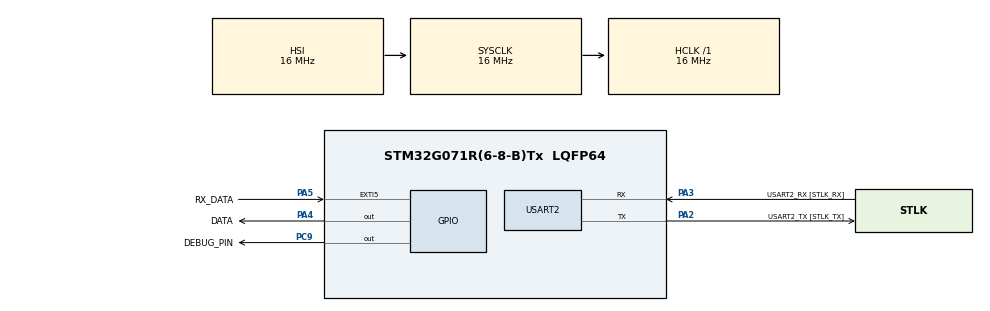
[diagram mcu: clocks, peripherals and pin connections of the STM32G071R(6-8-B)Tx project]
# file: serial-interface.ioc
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Mcu.Family=STM32G0
Mcu.Name=STM32G071R(6-8-B)Tx
Mcu.Package=LQFP64
NVIC.EXTI4_15_IRQn=true\:0\:0\:false\:false\:true\:true\:true\:true
NVIC.TIM1_BRK_UP_TRG_COM_IRQn=true\:0\:0\:false\:false\:true\:true\:true\:true
NVIC.TIM1_CC_IRQn=true\:0\:0\:false\:false\:true\:true\:true\:true
NVIC.TIM2_IRQn=true\:0\:0\:false\:false\:true\:true\:true\:true
PA13.GPIO_Label=TMS
PA13.Mode=Serial_Wire
PA13.Signal=SYS_SWDIO
PA14-BOOT0.GPIO_Label=TCK
PA14-BOOT0.Mode=Serial_Wire
PA14-BOOT0.Signal=SYS_SWCLK
PA2.GPIO_Label=USART2_TX [STLK_TX]
PA2.GPIO_PuPd=GPIO_PULLUP
PA2.Mode=Asynchronous
PA2.Signal=USART2_TX
PA3.GPIO_Label=USART2_RX [STLK_RX]
PA3.GPIO_PuPd=GPIO_PULLUP
PA3.Mode=Asynchronous
PA3.Signal=USART2_RX
PA4.GPIO_Label=DATA
PA4.Signal=GPIO_Output
PA5.GPIO_Label=RX_DATA
PA5.Signal=GPXTI5
PC13.Mode=SYS_WakeUp1
PC13.Signal=SYS_WKUP2
PC14-OSC32_IN\ (PC14).Mode=LSE-External-Oscillator
PC14-OSC32_IN\ (PC14).Signal=RCC_OSC32_IN
PC15-OSC32_OUT\ (PC15).Mode=LSE-External-Oscillator
PC15-OSC32_OUT\ (PC15).Signal=RCC_OSC32_OUT
PC9.GPIO_Label=DEBUG_PIN
PC9.Signal=GPIO_Output
PF0-OSC_IN\ (PF0).GPIO_Label=MCO
PF0-OSC_IN\ (PF0).Mode=HSE-External-Clock-Source
PF0-OSC_IN\ (PF0).Signal=RCC_OSC_IN
ProjectManager.HeapSize=0x200
ProjectManager.StackSize=0x400
ProjectManager.TargetToolchain=STM32CubeIDE
RCC.AHBFreq_Value=16000000
RCC.CortexFreq_Value=16000000
RCC.EXTERNAL_CLOCK_VALUE=12288000
RCC.HCLKFreq_Value=16000000
RCC.HSE_VALUE=8000000
RCC.HSI_VALUE=16000000
RCC.SYSCLKFreq_VALUE=16000000
RCC.VCOOutputFreq_Value=128000000
TIM1.Period=1000
TIM1.Prescaler=16-1
TIM2.Prescaler=16-1
USART2.VirtualMode-Asynchronous=VM_ASYNC
VP_TIM1_VS_ClockSourceINT.Mode=Internal
VP_TIM2_VS_ClockSourceINT.Mode=Internal
board=NUCLEO-G071RB

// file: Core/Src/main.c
/* USER CODE BEGIN Header */
/**
  ******************************************************************************
  * @file           : main.c
  * @brief          : Main program body
  ******************************************************************************
  * @attention
  *
  * Copyright (c) 2024 STMicroelectronics.
  * All rights reserved.
  *
  * This software is licensed under terms that can be found in the LICENSE file
  * in the root directory of this software component.
  * If no LICENSE file comes with this software, it is provided AS-IS.
  *
  ******************************************************************************
  */
/* USER CODE END Header */
#include "main.h"

/* USER CODE BEGIN Includes */
#include "tx.h"
#include "rx.h"
/* USER CODE END Includes */

/* USER CODE BEGIN PTD */
typedef void (*executable)();
typedef struct
{
	uint32_t   delayThreshold;
	uint32_t   delay;
	executable run;
} scheduledContext;

typedef struct
{
	uint8_t trigger;
	executable run;
} triggerable;
/* USER CODE END PTD */

TIM_HandleTypeDef htim1;
TIM_HandleTypeDef htim2;

UART_HandleTypeDef huart2;

/* USER CODE BEGIN PV */
static const volatile uint8_t flag_C = 0;
static uint8_t flag_B = 0;
static const volatile uint8_t txData[] = "abcdefghij";
static const volatile uint8_t rxData[10];
/* USER CODE END PV */

void SystemClock_Config(void);
static void MX_GPIO_Init(void);
static void MX_USART2_UART_Init(void);
static void MX_TIM1_Init(void);
static void MX_TIM2_Init(void);

/* USER CODE BEGIN 0 */
static void setBitAction(uint8_t bit)
{
	HAL_GPIO_WritePin
	(
			DATA_GPIO_Port,
			DATA_Pin,
			(bit != 0)
	);
}

static uint8_t readDataSignal()
{
	return !HAL_GPIO_ReadPin (
			RX_DATA_GPIO_Port,
			RX_DATA_Pin
	);
}

/* USER CODE END 0 */

int main(void)
{

  /* MCU Configuration--------------------------------------------------------*/

  /* Reset of all peripherals, Initializes the Flash interface and the Systick. */
  HAL_Init();

  /* Configure the system clock */
  SystemClock_Config();

  /* Initialize all configured peripherals */
  MX_GPIO_Init();
  MX_USART2_UART_Init();
  MX_TIM1_Init();
  MX_TIM2_Init();
  /* USER CODE BEGIN 2 */
  HAL_TIM_Base_Start_IT(&htim1);
  HAL_TIM_PWM_Start_IT(&htim1, TIM_CHANNEL_1);

  RX_initStruct init = {
		  .htim = &htim2,
		  .pin = RX_DATA_Pin,
		  .port = RX_DATA_GPIO_Port,
		  .source = readDataSignal
  };

  TX_init(&htim1, setBitAction);
  RX_init(init);
  /* USER CODE END 2 */

  /* Infinite loop */
  /* USER CODE BEGIN WHILE */
  while (1)
  {
	  if(flag_B)
	  {
		  RX_start(rxData, 2);
		  flag_B = !flag_B;
		  TX_send((uint8_t*)&txData, 2);
	  }
    /* USER CODE END WHILE */

  }
}

void SystemClock_Config(void)
{
  RCC_OscInitTypeDef RCC_OscInitStruct = {0};
  RCC_ClkInitTypeDef RCC_ClkInitStruct = {0};

  /** Configure the main internal regulator output voltage
  */
  HAL_PWREx_ControlVoltageScaling(PWR_REGULATOR_VOLTAGE_SCALE1);

  /** Initializes the RCC Oscillators according to the specified parameters
  * in the RCC_OscInitTypeDef structure.
  */
  RCC_OscInitStruct.OscillatorType = RCC_OSCILLATORTYPE_HSI;
  RCC_OscInitStruct.HSIState = RCC_HSI_ON;
  RCC_OscInitStruct.HSIDiv = RCC_HSI_DIV1;
  RCC_OscInitStruct.HSICalibrationValue = RCC_HSICALIBRATION_DEFAULT;
  RCC_OscInitStruct.PLL.PLLState = RCC_PLL_NONE;
  if (HAL_RCC_OscConfig(&RCC_OscInitStruct) != HAL_OK)
  {
    Error_Handler();
  }

  /** Initializes the CPU, AHB and APB buses clocks
  */
  RCC_ClkInitStruct.ClockType = RCC_CLOCKTYPE_HCLK|RCC_CLOCKTYPE_SYSCLK
                              |RCC_CLOCKTYPE_PCLK1;
  RCC_ClkInitStruct.SYSCLKSource = RCC_SYSCLKSOURCE_HSI;
  RCC_ClkInitStruct.AHBCLKDivider = RCC_SYSCLK_DIV1;
  RCC_ClkInitStruct.APB1CLKDivider = RCC_HCLK_DIV1;

  if (HAL_RCC_ClockConfig(&RCC_ClkInitStruct, FLASH_LATENCY_0) != HAL_OK)
  {
    Error_Handler();
  }
}

static void MX_TIM1_Init(void)
{

  TIM_ClockConfigTypeDef sClockSourceConfig = {0};
  TIM_MasterConfigTypeDef sMasterConfig = {0};

  htim1.Instance = TIM1;
  htim1.Init.Prescaler = 16-1;
  htim1.Init.CounterMode = TIM_COUNTERMODE_UP;
  htim1.Init.Period = 1000;
  htim1.Init.ClockDivision = TIM_CLOCKDIVISION_DIV1;
  htim1.Init.RepetitionCounter = 0;
  htim1.Init.AutoReloadPreload = TIM_AUTORELOAD_PRELOAD_DISABLE;
  if (HAL_TIM_Base_Init(&htim1) != HAL_OK)
  {
    Error_Handler();
  }
  sClockSourceConfig.ClockSource = TIM_CLOCKSOURCE_INTERNAL;
  if (HAL_TIM_ConfigClockSource(&htim1, &sClockSourceConfig) != HAL_OK)
  {
    Error_Handler();
  }
  sMasterConfig.MasterOutputTrigger = TIM_TRGO_RESET;
  sMasterConfig.MasterOutputTrigger2 = TIM_TRGO2_RESET;
  sMasterConfig.MasterSlaveMode = TIM_MASTERSLAVEMODE_DISABLE;
  if (HAL_TIMEx_MasterConfigSynchronization(&htim1, &sMasterConfig) != HAL_OK)
  {
    Error_Handler();
  }

}

static void MX_TIM2_Init(void)
{

  TIM_ClockConfigTypeDef sClockSourceConfig = {0};
  TIM_MasterConfigTypeDef sMasterConfig = {0};

  htim2.Instance = TIM2;
  htim2.Init.Prescaler = 16-1;
  htim2.Init.CounterMode = TIM_COUNTERMODE_UP;
  htim2.Init.Period = 4294967295;
  htim2.Init.ClockDivision = TIM_CLOCKDIVISION_DIV1;
  htim2.Init.AutoReloadPreload = TIM_AUTORELOAD_PRELOAD_DISABLE;
  if (HAL_TIM_Base_Init(&htim2) != HAL_OK)
  {
    Error_Handler();
  }
  sClockSourceConfig.ClockSource = TIM_CLOCKSOURCE_INTERNAL;
  if (HAL_TIM_ConfigClockSource(&htim2, &sClockSourceConfig) != HAL_OK)
  {
    Error_Handler();
  }
  sMasterConfig.MasterOutputTrigger = TIM_TRGO_RESET;
  sMasterConfig.MasterSlaveMode = TIM_MASTERSLAVEMODE_DISABLE;
  if (HAL_TIMEx_MasterConfigSynchronization(&htim2, &sMasterConfig) != HAL_OK)
  {
    Error_Handler();
  }

}

static void MX_USART2_UART_Init(void)
{

  huart2.Instance = USART2;
  huart2.Init.BaudRate = 115200;
  huart2.Init.WordLength = UART_WORDLENGTH_8B;
  huart2.Init.StopBits = UART_STOPBITS_1;
  huart2.Init.Parity = UART_PARITY_NONE;
  huart2.Init.Mode = UART_MODE_TX_RX;
  huart2.Init.HwFlowCtl = UART_HWCONTROL_NONE;
  huart2.Init.OverSampling = UART_OVERSAMPLING_16;
  huart2.Init.OneBitSampling = UART_ONE_BIT_SAMPLE_DISABLE;
  huart2.Init.ClockPrescaler = UART_PRESCALER_DIV1;
  huart2.AdvancedInit.AdvFeatureInit = UART_ADVFEATURE_NO_INIT;
  if (HAL_UART_Init(&huart2) != HAL_OK)
  {
    Error_Handler();
  }
  if (HAL_UARTEx_SetTxFifoThreshold(&huart2, UART_TXFIFO_THRESHOLD_1_8) != HAL_OK)
  {
    Error_Handler();
  }
  if (HAL_UARTEx_SetRxFifoThreshold(&huart2, UART_RXFIFO_THRESHOLD_1_8) != HAL_OK)
  {
    Error_Handler();
  }
  if (HAL_UARTEx_DisableFifoMode(&huart2) != HAL_OK)
  {
    Error_Handler();
  }

}

static void MX_GPIO_Init(void)
{
  GPIO_InitTypeDef GPIO_InitStruct = {0};

  /* GPIO Ports Clock Enable */
  __HAL_RCC_GPIOC_CLK_ENABLE();
  __HAL_RCC_GPIOF_CLK_ENABLE();
  __HAL_RCC_GPIOA_CLK_ENABLE();

  /*Configure GPIO pin Output Level */
  HAL_GPIO_WritePin(DATA_GPIO_Port, DATA_Pin, GPIO_PIN_RESET);

  /*Configure GPIO pin Output Level */
  HAL_GPIO_WritePin(DEBUG_PIN_GPIO_Port, DEBUG_PIN_Pin, GPIO_PIN_RESET);

  /*Configure GPIO pin : DATA_Pin */
  GPIO_InitStruct.Pin = DATA_Pin;
  GPIO_InitStruct.Mode = GPIO_MODE_OUTPUT_PP;
  GPIO_InitStruct.Pull = GPIO_NOPULL;
  GPIO_InitStruct.Speed = GPIO_SPEED_FREQ_LOW;
  HAL_GPIO_Init(DATA_GPIO_Port, &GPIO_InitStruct);

  /*Configure GPIO pin : RX_DATA_Pin */
  GPIO_InitStruct.Pin = RX_DATA_Pin;
  GPIO_InitStruct.Mode = GPIO_MODE_IT_RISING;
  GPIO_InitStruct.Pull = GPIO_NOPULL;
  HAL_GPIO_Init(RX_DATA_GPIO_Port, &GPIO_InitStruct);

  /*Configure GPIO pin : DEBUG_PIN_Pin */
  GPIO_InitStruct.Pin = DEBUG_PIN_Pin;
  GPIO_InitStruct.Mode = GPIO_MODE_OUTPUT_PP;
  GPIO_InitStruct.Pull = GPIO_NOPULL;
  GPIO_InitStruct.Speed = GPIO_SPEED_FREQ_LOW;
  HAL_GPIO_Init(DEBUG_PIN_GPIO_Port, &GPIO_InitStruct);

  /* EXTI interrupt init*/
  HAL_NVIC_SetPriority(EXTI4_15_IRQn, 0, 0);
  HAL_NVIC_EnableIRQ(EXTI4_15_IRQn);

}

/* USER CODE BEGIN 4 */
void HAL_TIM_PeriodElapsedCallback(TIM_HandleTypeDef *htim)
{
	if(htim->Instance == TIM1) {
		TX_timerCompleteCallback();
	}
	if(htim->Instance == TIM2){
		runStopStateOnTimerFullPeriodEvent();
		runReceivingStateOnTimerFullPeriodEvent();
		runWaitStateOnTimerHalfPeriodEvent();
	}
}

void HAL_GPIO_EXTI_Falling_Callback(uint16_t GPIO_Pin)
{
	runSyncFirstStepOnFallingEdgeEvent();
}

void HAL_GPIO_EXTI_Rising_Callback(uint16_t GPIO_Pin)
{
	runSyncSecondStateOnRisingEdgeEvent();
}
/* USER CODE END 4 */

void Error_Handler(void)
{
  __disable_irq();
  while (1)
  {
  }
}
